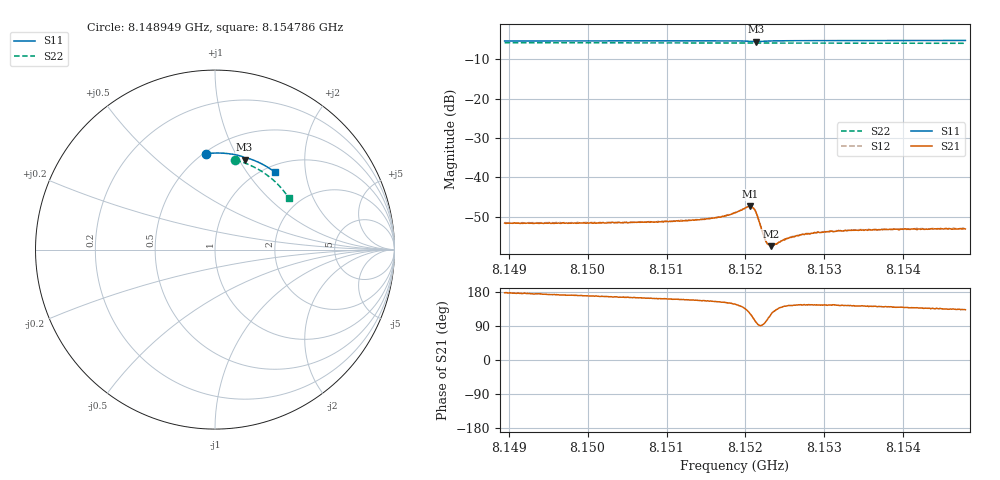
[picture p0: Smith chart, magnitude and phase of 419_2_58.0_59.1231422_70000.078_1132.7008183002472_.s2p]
#  HZ  S  RI  R  50.00
! Rohde & Schwarz Vector Network Analyzer
! Rohde-Schwarz,ZNB20-2Port,1311601062101988,3.16
! Created: UTC 3/21/2024, 1:09:04 AM
! freq[Hz]  re:S11  im:S11  re:S21  im:S21  re:S12  im:S12  re:S22  im:S22
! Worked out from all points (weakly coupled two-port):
!   401 points, 8.148949 GHz to 8.154786 GHz, reference 50 ohm
!   highest |S21| = -47.34 dB at 8.152057 GHz (marker M1); lowest = -57.4 dB at 8.15232 GHz (marker M2)
!   lowest |S11| = -5.5 dB at 8.15213 GHz (marker M3), VSWR 3.24, Z = 38 + j52.9 ohm
!   |S11| at or under -10 dB: nowhere
!   |S22| runs from -6.0 to -5.8 dB; largest |S21 - S12| = 0.00013
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8.1489494e9  -0.0477 0.5346  -0.00264 0.00012  -0.00267 0.000174  0.1137 0.4982
8.149927e9  0.0204 0.538  -0.0026 0.000457  -0.00261 0.00049  0.174 0.4791
8.1509045e9  0.0884 0.5327  -0.00261 0.000845  -0.00263 0.000875  0.231 0.4528
8.1514736e9  0.1282 0.5253  -0.00271 0.00115  -0.0027 0.00126  0.2624 0.4345
8.1517216e9  0.1459 0.5204  -0.00283 0.00149  -0.00284 0.00157  0.2756 0.4257
8.1518675e9  0.1568 0.5162  -0.003 0.00193  -0.003 0.00198  0.2831 0.4202
8.1520134e9  0.1669 0.5082  -0.00281 0.00308  -0.00278 0.00315  0.2907 0.4147
8.1520572e9  0.1679 0.5045  -0.00235 0.0036  -0.0023 0.00364  0.2928 0.413
8.1521009e9  0.1668 0.5015  -0.00139 0.00382  -0.00134 0.00387  0.2948 0.4113
8.1521301e9  0.1651 0.5015  -0.00067 0.00361  -0.000623 0.00364  0.2961 0.4101
8.1521593e9  0.1643 0.503  -0.000188 0.00305  -0.00017 0.00311  0.2976 0.4092
8.1522177e9  0.1666 0.5068  -0.000106 0.00197  -5.35e-05 0.00201  0.3006 0.4072
8.1522469e9  0.1688 0.5079  -0.00023 0.00162  -0.00025 0.00163  0.302 0.4061
8.152276e9  0.1715 0.5086  -0.000404 0.00138  -0.000429 0.00139  0.3035 0.4051
8.1523198e9  0.1752 0.509  -0.000656 0.00117  -0.000661 0.00121  0.3058 0.4033
8.1523782e9  0.1803 0.5087  -0.000934 0.00108  -0.000909 0.00105  0.3085 0.4009
8.1524803e9  0.1884 0.5072  -0.00126 0.00101  -0.00122 0.00103  0.3137 0.3969
8.152597e9  0.197 0.5047  -0.00142 0.00103  -0.00144 0.00105  0.3194 0.3921
8.1528451e9  0.214 0.4987  -0.00162 0.0011  -0.00162 0.0011  0.3312 0.3817
8.1531952e9  0.2368 0.489  -0.00169 0.00124  -0.00172 0.00122  0.3472 0.3664
8.1538226e9  0.2758 0.4692  -0.00169 0.00141  -0.00168 0.00145  0.3742 0.3375
8.1547856e9  0.3317 0.4334  -0.0015 0.00163  -0.00153 0.00166  0.4104 0.2891
